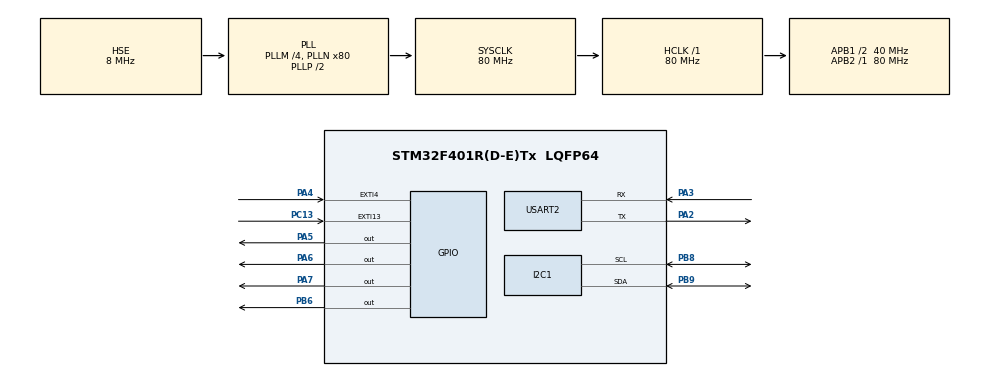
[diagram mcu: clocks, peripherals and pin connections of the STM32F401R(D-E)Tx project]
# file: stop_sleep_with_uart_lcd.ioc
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Mcu.Family=STM32F4
Mcu.Name=STM32F401R(D-E)Tx
Mcu.Package=LQFP64
NVIC.EXTI15_10_IRQn=true\:0\:0\:false\:false\:true\:true\:true\:true
NVIC.EXTI4_IRQn=true\:0\:0\:false\:false\:true\:true\:true\:true
NVIC.PriorityGroup=NVIC_PRIORITYGROUP_4
NVIC.RTC_WKUP_IRQn=true\:0\:0\:false\:false\:true\:true\:true\:true
NVIC.USART2_IRQn=true\:0\:0\:false\:false\:true\:true\:true\:true
PA13.Mode=Serial_Wire
PA13.Signal=SYS_JTMS-SWDIO
PA14.Mode=Serial_Wire
PA14.Signal=SYS_JTCK-SWCLK
PA2.Mode=Asynchronous
PA2.Signal=USART2_TX
PA3.Mode=Asynchronous
PA3.Signal=USART2_RX
PA4.Signal=GPXTI4
PA5.Signal=GPIO_Output
PA6.Signal=GPIO_Output
PA7.Signal=GPIO_Output
PB6.Signal=GPIO_Output
PB8.Mode=I2C
PB8.Signal=I2C1_SCL
PB9.Mode=I2C
PB9.Signal=I2C1_SDA
PC13-ANTI_TAMP.Signal=GPXTI13
PH0\ -\ OSC_IN.Mode=HSE-External-Oscillator
PH0\ -\ OSC_IN.Signal=RCC_OSC_IN
PH1\ -\ OSC_OUT.Mode=HSE-External-Oscillator
PH1\ -\ OSC_OUT.Signal=RCC_OSC_OUT
ProjectManager.HeapSize=0x200
ProjectManager.StackSize=0x400
ProjectManager.TargetToolchain=STM32CubeIDE
RCC.48MHZClocksFreq_Value=40000000
RCC.AHBFreq_Value=80000000
RCC.APB1CLKDivider=RCC_HCLK_DIV2
RCC.APB1Freq_Value=40000000
RCC.APB1TimFreq_Value=80000000
RCC.APB2Freq_Value=80000000
RCC.APB2TimFreq_Value=80000000
RCC.CortexFreq_Value=80000000
RCC.HCLKFreq_Value=80000000
RCC.HSE_VALUE=8000000
RCC.HSI_VALUE=16000000
RCC.LSE_VALUE=32768
RCC.PLLM=4
RCC.PLLN=80
RCC.PLLSourceVirtual=RCC_PLLSOURCE_HSE
RCC.SYSCLKFreq_VALUE=80000000
RCC.SYSCLKSource=RCC_SYSCLKSOURCE_PLLCLK
RCC.VCOOutputFreq_Value=160000000
USART2.VirtualMode=VM_ASYNC
VP_RTC_VS_RTC_Activate.Mode=RTC_Enabled
VP_RTC_VS_RTC_WakeUp_intern.Mode=WakeUp
board=custom

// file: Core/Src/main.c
/* USER CODE BEGIN Header */
/**
  ******************************************************************************
  * @file           : main.c
  * @brief          : Main program body
  ******************************************************************************
  * @attention
  *
  * Copyright (c) 2023 STMicroelectronics.
  * All rights reserved.
  *
  * This software is licensed under terms that can be found in the LICENSE file
  * in the root directory of this software component.
  * If no LICENSE file comes with this software, it is provided AS-IS.
  *
  ******************************************************************************
  */
/* USER CODE END Header */
#include "main.h"

/* USER CODE BEGIN Includes */
#include <string.h>
#include <lcd.h>
/* USER CODE END Includes */

I2C_HandleTypeDef hi2c1;

RTC_HandleTypeDef hrtc;

UART_HandleTypeDef huart2;

/* USER CODE BEGIN PV */
uint8_t Rx_data;
char *str = {0};
char *str_lcd_msg = {0};

/* USER CODE END PV */

void SystemClock_Config(void);
static void MX_GPIO_Init(void);
static void MX_RTC_Init(void);
static void MX_USART2_UART_Init(void);
static void MX_I2C1_Init(void);

/* USER CODE BEGIN 0 */
void HAL_UART_RxCpltCallback(UART_HandleTypeDef *huart)
{
	HAL_UART_Receive_IT(&huart2, &Rx_data, 1);
	str = "Passe sleep  uart2\n";
	str_lcd_msg = "Passe BY UART2";
	lcd_send_string(str_lcd_msg);
	HAL_UART_Transmit(&huart2, (uint8_t *)str, strlen (str), HAL_MAX_DELAY);

}

void HAL_GPIO_EXTI_Callback(uint16_t GPIO_Pin)
{
	if(GPIO_Pin == GPIO_PIN_4)
	{
	  HAL_GPIO_WritePin(GPIOA, GPIO_PIN_7, 1);

	  str = "WAKE UP FROM SLEEP BY EXTI4\r\n";
	  HAL_UART_Transmit(&huart2, (uint8_t *)str, strlen (str), HAL_MAX_DELAY);
      HAL_ResumeTick();

	  lcd_send_cmd(0xc0);
	  lcd_send_string("pase-sleep ExtI4");
	  HAL_PWR_DisableSleepOnExit();
	}
	if(GPIO_Pin == GPIO_PIN_13)
	{
	  HAL_GPIO_WritePin(GPIOB, GPIO_PIN_6, 1);

	  str = "WAKE UP FROM SLEEP BY EXTI13\r\n";
	  HAL_UART_Transmit(&huart2, (uint8_t *)str, strlen (str), HAL_MAX_DELAY);
      HAL_ResumeTick();

	  lcd_send_cmd(0xc0);
  	  lcd_send_string("pase-sleep ExtI13");
	  HAL_PWR_DisableSleepOnExit();
	}
}

void HAL_RTCEx_WakeUpTimerEventCallback(RTC_HandleTypeDef *hrtc)
{
    HAL_ResumeTick();
    SystemClock_Config();
	str = "WAKE UP FROM STOP BY RTC TIMER AFTER 10 SECONDS\r\n";
	HAL_UART_Transmit(&huart2, (uint8_t*)str, strlen (str), HAL_MAX_DELAY);

}

/* USER CODE END 0 */

int main(void)
{

  /* MCU Configuration--------------------------------------------------------*/

  /* Reset of all peripherals, Initializes the Flash interface and the Systick. */
  HAL_Init();

  /* Configure the system clock */
  SystemClock_Config();

  /* Initialize all configured peripherals */
  MX_GPIO_Init();
  MX_RTC_Init();
  MX_USART2_UART_Init();
  MX_I2C1_Init();
 // lcd_init();
  /* USER CODE BEGIN 2 */
  HAL_UART_Receive_IT(&huart2, &Rx_data, 1);

      HAL_GPIO_WritePin(GPIOA, GPIO_PIN_6, 1);

	  str = "STOPing in seconds\r\n";
	  HAL_UART_Transmit(&huart2, (uint8_t *)str, strlen (str), HAL_MAX_DELAY);

	//  lcd_send_cmd(0x80);
	//  lcd_send_string("STOPing in 5sec");
      HAL_RTCEx_SetWakeUpTimer_IT(&hrtc, 0x4E20, RTC_WAKEUPCLOCK_RTCCLK_DIV16);
      HAL_GPIO_WritePin(GPIOA, GPIO_PIN_6, 0);

      HAL_SuspendTick();

      HAL_PWR_EnterSTOPMode(PWR_LOWPOWERREGULATOR_ON , PWR_STOPENTRY_WFI ); //ENTER INTO stop mode
      HAL_RTCEx_DeactivateWakeUpTimer(&hrtc);               //deactivate after call back

      for (int i=0; i<10; i++)
      {
    	  HAL_GPIO_TogglePin(GPIOA, GPIO_PIN_6);
    	  HAL_Delay(100);
      }
  /* USER CODE END 2 */

  /* Infinite loop */
  /* USER CODE BEGIN WHILE */
  while (1)
  {
	  str = "sleeping mode in 5sec\n";
	  HAL_UART_Transmit(&huart2, (uint8_t*)str, strlen (str), HAL_MAX_DELAY);

      str_lcd_msg = "sleeping in 5sec";
      lcd_send_cmd(0x80);
  	  lcd_send_string(str_lcd_msg);

	  HAL_GPIO_WritePin(GPIOA, GPIO_PIN_5, 1);
	  HAL_Delay(5000);

	  HAL_GPIO_WritePin(GPIOA, GPIO_PIN_7, 0);
	  HAL_GPIO_WritePin(GPIOB, GPIO_PIN_6, 0);
	  HAL_GPIO_WritePin(GPIOA, GPIO_PIN_5, 0);

	  HAL_SuspendTick();
	  HAL_PWR_EnableSleepOnExit();

	   //Enter Sleep Mode , wake up is done once User push-button is pressed
	  HAL_PWR_EnterSLEEPMode(PWR_MAINREGULATOR_ON, PWR_SLEEPENTRY_WFI);

	  HAL_ResumeTick();
	  str = "WakeUP from SLEEP\r\n";
	  HAL_UART_Transmit(&huart2, (uint8_t *)str, strlen (str), HAL_MAX_DELAY);

	  for (int i=0; i<20; i++)
	  {
		  HAL_GPIO_TogglePin(GPIOA, GPIO_PIN_5);
		  HAL_Delay(100);

	  }
  }
  /* USER CODE END 3 */
}

void SystemClock_Config(void)
{
  RCC_OscInitTypeDef RCC_OscInitStruct = {0};
  RCC_ClkInitTypeDef RCC_ClkInitStruct = {0};

  /** Configure the main internal regulator output voltage
  */
  __HAL_RCC_PWR_CLK_ENABLE();
  __HAL_PWR_VOLTAGESCALING_CONFIG(PWR_REGULATOR_VOLTAGE_SCALE2);

  /** Initializes the RCC Oscillators according to the specified parameters
  * in the RCC_OscInitTypeDef structure.
  */
  RCC_OscInitStruct.OscillatorType = RCC_OSCILLATORTYPE_LSI|RCC_OSCILLATORTYPE_HSE;
  RCC_OscInitStruct.HSEState = RCC_HSE_ON;
  RCC_OscInitStruct.LSIState = RCC_LSI_ON;
  RCC_OscInitStruct.PLL.PLLState = RCC_PLL_ON;
  RCC_OscInitStruct.PLL.PLLSource = RCC_PLLSOURCE_HSE;
  RCC_OscInitStruct.PLL.PLLM = 4;
  RCC_OscInitStruct.PLL.PLLN = 80;
  RCC_OscInitStruct.PLL.PLLP = RCC_PLLP_DIV2;
  RCC_OscInitStruct.PLL.PLLQ = 4;
  if (HAL_RCC_OscConfig(&RCC_OscInitStruct) != HAL_OK)
  {
    Error_Handler();
  }

  /** Initializes the CPU, AHB and APB buses clocks
  */
  RCC_ClkInitStruct.ClockType = RCC_CLOCKTYPE_HCLK|RCC_CLOCKTYPE_SYSCLK
                              |RCC_CLOCKTYPE_PCLK1|RCC_CLOCKTYPE_PCLK2;
  RCC_ClkInitStruct.SYSCLKSource = RCC_SYSCLKSOURCE_PLLCLK;
  RCC_ClkInitStruct.AHBCLKDivider = RCC_SYSCLK_DIV1;
  RCC_ClkInitStruct.APB1CLKDivider = RCC_HCLK_DIV2;
  RCC_ClkInitStruct.APB2CLKDivider = RCC_HCLK_DIV1;

  if (HAL_RCC_ClockConfig(&RCC_ClkInitStruct, FLASH_LATENCY_2) != HAL_OK)
  {
    Error_Handler();
  }
}

static void MX_I2C1_Init(void)
{

  hi2c1.Instance = I2C1;
  hi2c1.Init.ClockSpeed = 100000;
  hi2c1.Init.DutyCycle = I2C_DUTYCYCLE_2;
  hi2c1.Init.OwnAddress1 = 0;
  hi2c1.Init.AddressingMode = I2C_ADDRESSINGMODE_7BIT;
  hi2c1.Init.DualAddressMode = I2C_DUALADDRESS_DISABLE;
  hi2c1.Init.OwnAddress2 = 0;
  hi2c1.Init.GeneralCallMode = I2C_GENERALCALL_DISABLE;
  hi2c1.Init.NoStretchMode = I2C_NOSTRETCH_DISABLE;
  if (HAL_I2C_Init(&hi2c1) != HAL_OK)
  {
    Error_Handler();
  }

}

static void MX_RTC_Init(void)
{

  RTC_TimeTypeDef sTime = {0};
  RTC_DateTypeDef sDate = {0};

  /** Initialize RTC Only
  */
  hrtc.Instance = RTC;
  hrtc.Init.HourFormat = RTC_HOURFORMAT_24;
  hrtc.Init.AsynchPrediv = 127;
  hrtc.Init.SynchPrediv = 255;
  hrtc.Init.OutPut = RTC_OUTPUT_DISABLE;
  hrtc.Init.OutPutPolarity = RTC_OUTPUT_POLARITY_HIGH;
  hrtc.Init.OutPutType = RTC_OUTPUT_TYPE_OPENDRAIN;
  if (HAL_RTC_Init(&hrtc) != HAL_OK)
  {
    Error_Handler();
  }

  /** Initialize RTC and set the Time and Date
  */
  sTime.Hours = 0x0;
  sTime.Minutes = 0x0;
  sTime.Seconds = 0x0;
  sTime.DayLightSaving = RTC_DAYLIGHTSAVING_NONE;
  sTime.StoreOperation = RTC_STOREOPERATION_RESET;
  if (HAL_RTC_SetTime(&hrtc, &sTime, RTC_FORMAT_BCD) != HAL_OK)
  {
    Error_Handler();
  }
  sDate.WeekDay = RTC_WEEKDAY_MONDAY;
  sDate.Month = RTC_MONTH_JANUARY;
  sDate.Date = 0x1;
  sDate.Year = 0x0;

  if (HAL_RTC_SetDate(&hrtc, &sDate, RTC_FORMAT_BCD) != HAL_OK)
  {
    Error_Handler();
  }

  /** Enable the WakeUp
  */
  if (HAL_RTCEx_SetWakeUpTimer_IT(&hrtc, 0, RTC_WAKEUPCLOCK_RTCCLK_DIV16) != HAL_OK)
  {
    Error_Handler();
  }

}

static void MX_USART2_UART_Init(void)
{

  huart2.Instance = USART2;
  huart2.Init.BaudRate = 115200;
  huart2.Init.WordLength = UART_WORDLENGTH_8B;
  huart2.Init.StopBits = UART_STOPBITS_1;
  huart2.Init.Parity = UART_PARITY_NONE;
  huart2.Init.Mode = UART_MODE_TX_RX;
  huart2.Init.HwFlowCtl = UART_HWCONTROL_NONE;
  huart2.Init.OverSampling = UART_OVERSAMPLING_16;
  if (HAL_UART_Init(&huart2) != HAL_OK)
  {
    Error_Handler();
  }

}

static void MX_GPIO_Init(void)
{
  GPIO_InitTypeDef GPIO_InitStruct = {0};

  /* GPIO Ports Clock Enable */
  __HAL_RCC_GPIOC_CLK_ENABLE();
  __HAL_RCC_GPIOH_CLK_ENABLE();
  __HAL_RCC_GPIOA_CLK_ENABLE();
  __HAL_RCC_GPIOB_CLK_ENABLE();

  /*Configure GPIO pin Output Level */
  HAL_GPIO_WritePin(GPIOA, GPIO_PIN_5|GPIO_PIN_6|GPIO_PIN_7, GPIO_PIN_RESET);

  /*Configure GPIO pin Output Level */
  HAL_GPIO_WritePin(GPIOB, GPIO_PIN_6, GPIO_PIN_RESET);

  /*Configure GPIO pin : PC13 */
  GPIO_InitStruct.Pin = GPIO_PIN_13;
  GPIO_InitStruct.Mode = GPIO_MODE_IT_RISING;
  GPIO_InitStruct.Pull = GPIO_NOPULL;
  HAL_GPIO_Init(GPIOC, &GPIO_InitStruct);

  /*Configure GPIO pin : PA4 */
  GPIO_InitStruct.Pin = GPIO_PIN_4;
  GPIO_InitStruct.Mode = GPIO_MODE_IT_RISING;
  GPIO_InitStruct.Pull = GPIO_NOPULL;
  HAL_GPIO_Init(GPIOA, &GPIO_InitStruct);

  /*Configure GPIO pins : PA5 PA6 PA7 */
  GPIO_InitStruct.Pin = GPIO_PIN_5|GPIO_PIN_6|GPIO_PIN_7;
  GPIO_InitStruct.Mode = GPIO_MODE_OUTPUT_PP;
  GPIO_InitStruct.Pull = GPIO_NOPULL;
  GPIO_InitStruct.Speed = GPIO_SPEED_FREQ_LOW;
  HAL_GPIO_Init(GPIOA, &GPIO_InitStruct);

  /*Configure GPIO pin : PB6 */
  GPIO_InitStruct.Pin = GPIO_PIN_6;
  GPIO_InitStruct.Mode = GPIO_MODE_OUTPUT_PP;
  GPIO_InitStruct.Pull = GPIO_NOPULL;
  GPIO_InitStruct.Speed = GPIO_SPEED_FREQ_LOW;
  HAL_GPIO_Init(GPIOB, &GPIO_InitStruct);

  /* EXTI interrupt init*/
  HAL_NVIC_SetPriority(EXTI4_IRQn, 0, 0);
  HAL_NVIC_EnableIRQ(EXTI4_IRQn);

  HAL_NVIC_SetPriority(EXTI15_10_IRQn, 0, 0);
  HAL_NVIC_EnableIRQ(EXTI15_10_IRQn);

}

void Error_Handler(void)
{
  __disable_irq();
  while (1)
  {
  }
}
